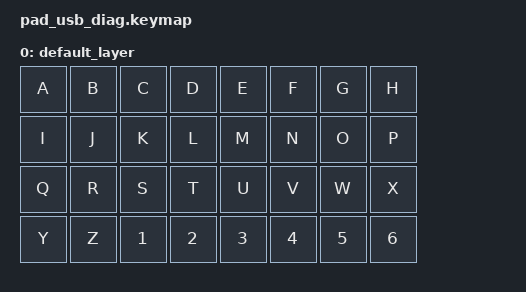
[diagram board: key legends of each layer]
/*
 * SPDX-License-Identifier: MIT
 *
 * Temporary standalone USB-HID wiring probe for the NocFree Pad.
 *
 * PCA 0x20 bits 0-15 emit A-P. PCA 0x22 bits 0-9 emit Q-Z, and bits
 * 10-15 emit 1-6. Pressing the physical keys in reading order therefore
 * reveals the exact expander/bit wiring without assuming a factory layout.
 */
#include <behaviors.dtsi>
#include <dt-bindings/zmk/keys.h>

/ {
    keymap {
        compatible = "zmk,keymap";

        default_layer {
            bindings = <
                /* PCA 0x20 bits 0-15. */
                &kp A &kp B &kp C &kp D &kp E &kp F &kp G &kp H
                &kp I &kp J &kp K &kp L &kp M &kp N &kp O &kp P

                /* PCA 0x22 bits 0-15. */
                &kp Q &kp R &kp S &kp T &kp U &kp V &kp W &kp X
                &kp Y &kp Z &kp N1 &kp N2 &kp N3 &kp N4 &kp N5 &kp N6
            >;
        };
    };
};
